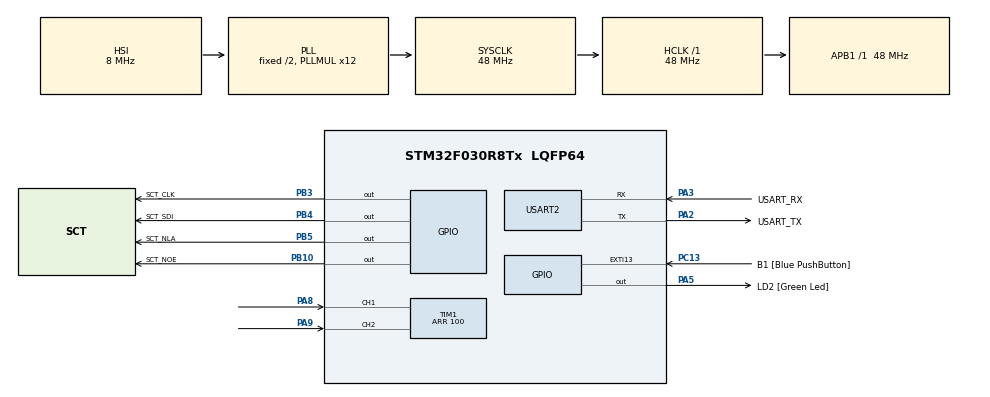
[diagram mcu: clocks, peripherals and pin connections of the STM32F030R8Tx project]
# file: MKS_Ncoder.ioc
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Mcu.Family=STM32F0
Mcu.Name=STM32F030R8Tx
Mcu.Package=LQFP64
PA13.GPIO_Label=TMS
PA13.Mode=Serial_Wire
PA13.Signal=SYS_SWDIO
PA14.GPIO_Label=TCK
PA14.Mode=Serial_Wire
PA14.Signal=SYS_SWCLK
PA2.GPIO_Label=USART_TX
PA2.GPIO_Mode=GPIO_MODE_AF_PP
PA2.GPIO_PuPd=GPIO_NOPULL
PA2.GPIO_Speed=GPIO_SPEED_FREQ_LOW
PA2.Mode=Asynchronous
PA2.Signal=USART2_TX
PA3.GPIO_Label=USART_RX
PA3.GPIO_Mode=GPIO_MODE_AF_PP
PA3.GPIO_PuPd=GPIO_NOPULL
PA3.GPIO_Speed=GPIO_SPEED_FREQ_LOW
PA3.Mode=Asynchronous
PA3.Signal=USART2_RX
PA5.GPIO_Label=LD2 [Green Led]
PA5.GPIO_Mode=GPIO_MODE_OUTPUT_PP
PA5.GPIO_PuPd=GPIO_NOPULL
PA5.GPIO_Speed=GPIO_SPEED_FREQ_LOW
PA5.Signal=GPIO_Output
PA8.Signal=S_TIM1_CH1
PA9.Signal=S_TIM1_CH2
PB10.GPIO_Label=SCT_NOE
PB10.Signal=GPIO_Output
PB3.GPIO_Label=SCT_CLK
PB3.Signal=GPIO_Output
PB4.GPIO_Label=SCT_SDI
PB4.Signal=GPIO_Output
PB5.GPIO_Label=SCT_NLA
PB5.Signal=GPIO_Output
PC13.GPIO_Label=B1 [Blue PushButton]
PC13.GPIO_ModeDefaultEXTI=GPIO_MODE_IT_FALLING
PC13.Signal=GPXTI13
PC14-OSC32_IN.Mode=LSE-External-Oscillator
PC14-OSC32_IN.Signal=RCC_OSC32_IN
PC15-OSC32_OUT.Mode=LSE-External-Oscillator
PC15-OSC32_OUT.Signal=RCC_OSC32_OUT
PF0-OSC_IN.Mode=HSE-External-Clock-Source
PF0-OSC_IN.Signal=RCC_OSC_IN
PF1-OSC_OUT.Signal=RCC_OSC_OUT
ProjectManager.HeapSize=0x200
ProjectManager.StackSize=0x400
ProjectManager.TargetToolchain=STM32CubeIDE
RCC.AHBFreq_Value=48000000
RCC.APB1Freq_Value=48000000
RCC.APB1TimFreq_Value=48000000
RCC.HCLKFreq_Value=48000000
RCC.PLLMUL=RCC_PLL_MUL12
RCC.SYSCLKFreq_VALUE=48000000
RCC.SYSCLKSource=RCC_SYSCLKSOURCE_PLLCLK
SH.S_TIM1_CH1.0=TIM1_CH1,Encoder_Interface
SH.S_TIM1_CH2.0=TIM1_CH2,Encoder_Interface
TIM1.IC1Polarity=TIM_ICPOLARITY_FALLING
TIM1.Period=100
USART2.VirtualMode-Asynchronous=VM_ASYNC
board=NUCLEO-F030R8

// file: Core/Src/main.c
/* USER CODE BEGIN Header */
/**
  ******************************************************************************
  * @file           : main.c
  * @brief          : Main program body
  ******************************************************************************
  * @attention
  *
  * Copyright (c) 2022 STMicroelectronics.
  * All rights reserved.
  *
  * This software is licensed under terms that can be found in the LICENSE file
  * in the root directory of this software component.
  * If no LICENSE file comes with this software, it is provided AS-IS.
  *
  ******************************************************************************
  */
/* USER CODE END Header */
#include "main.h"

/* USER CODE BEGIN Includes */
#include "sct.h"
#include <stdio.h>
#include <stdbool.h>
/* USER CODE END Includes */

/* USER CODE BEGIN PD */
#define MIN_SPEED 20
/* USER CODE END PD */

TIM_HandleTypeDef htim1;

UART_HandleTypeDef huart2;

void SystemClock_Config(void);
static void MX_GPIO_Init(void);
static void MX_USART2_UART_Init(void);
static void MX_TIM1_Init(void);

int main(void)
{
  /* USER CODE BEGIN 1 */
	static uint8_t cnt = 0;
	static uint32_t MyTimer = 0;
	uint8_t Nvalue;
	static bool direction = true;
  /* USER CODE END 1 */

  /* MCU Configuration--------------------------------------------------------*/

  /* Reset of all peripherals, Initializes the Flash interface and the Systick. */
  HAL_Init();

  /* Configure the system clock */
  SystemClock_Config();

  /* Initialize all configured peripherals */
  MX_GPIO_Init();
  MX_USART2_UART_Init();
  MX_TIM1_Init();
  /* USER CODE BEGIN 2 */
  sct_init();
  HAL_TIM_Encoder_Start(&htim1, htim1.Channel);
  /* USER CODE END 2 */

  /* Infinite loop */
  while (1)
  {

    /* USER CODE BEGIN 3 */
	  Nvalue = __HAL_TIM_GET_COUNTER(&htim1);
	  sct_value(Nvalue, cnt);
	  if(!cnt) direction = true;
	  if(cnt == 9) direction = false;
	  if(HAL_GetTick() > MyTimer + Nvalue + MIN_SPEED){
		  direction ? cnt++ : cnt--;
		  MyTimer = HAL_GetTick();
	  }
	  for(uint32_t i = 0; i < 5000; i++);
  }
  /* USER CODE END 3 */
}

void SystemClock_Config(void)
{
  RCC_OscInitTypeDef RCC_OscInitStruct = {0};
  RCC_ClkInitTypeDef RCC_ClkInitStruct = {0};

  /** Initializes the RCC Oscillators according to the specified parameters
  * in the RCC_OscInitTypeDef structure.
  */
  RCC_OscInitStruct.OscillatorType = RCC_OSCILLATORTYPE_HSI;
  RCC_OscInitStruct.HSIState = RCC_HSI_ON;
  RCC_OscInitStruct.HSICalibrationValue = RCC_HSICALIBRATION_DEFAULT;
  RCC_OscInitStruct.PLL.PLLState = RCC_PLL_ON;
  RCC_OscInitStruct.PLL.PLLSource = RCC_PLLSOURCE_HSI;
  RCC_OscInitStruct.PLL.PLLMUL = RCC_PLL_MUL12;
  RCC_OscInitStruct.PLL.PREDIV = RCC_PREDIV_DIV1;
  if (HAL_RCC_OscConfig(&RCC_OscInitStruct) != HAL_OK)
  {
    Error_Handler();
  }
  /** Initializes the CPU, AHB and APB buses clocks
  */
  RCC_ClkInitStruct.ClockType = RCC_CLOCKTYPE_HCLK|RCC_CLOCKTYPE_SYSCLK
                              |RCC_CLOCKTYPE_PCLK1;
  RCC_ClkInitStruct.SYSCLKSource = RCC_SYSCLKSOURCE_PLLCLK;
  RCC_ClkInitStruct.AHBCLKDivider = RCC_SYSCLK_DIV1;
  RCC_ClkInitStruct.APB1CLKDivider = RCC_HCLK_DIV1;

  if (HAL_RCC_ClockConfig(&RCC_ClkInitStruct, FLASH_LATENCY_1) != HAL_OK)
  {
    Error_Handler();
  }
}

static void MX_TIM1_Init(void)
{

  TIM_Encoder_InitTypeDef sConfig = {0};
  TIM_MasterConfigTypeDef sMasterConfig = {0};

  htim1.Instance = TIM1;
  htim1.Init.Prescaler = 0;
  htim1.Init.CounterMode = TIM_COUNTERMODE_UP;
  htim1.Init.Period = 100;
  htim1.Init.ClockDivision = TIM_CLOCKDIVISION_DIV1;
  htim1.Init.RepetitionCounter = 0;
  htim1.Init.AutoReloadPreload = TIM_AUTORELOAD_PRELOAD_DISABLE;
  sConfig.EncoderMode = TIM_ENCODERMODE_TI1;
  sConfig.IC1Polarity = TIM_ICPOLARITY_FALLING;
  sConfig.IC1Selection = TIM_ICSELECTION_DIRECTTI;
  sConfig.IC1Prescaler = TIM_ICPSC_DIV1;
  sConfig.IC1Filter = 0;
  sConfig.IC2Polarity = TIM_ICPOLARITY_RISING;
  sConfig.IC2Selection = TIM_ICSELECTION_DIRECTTI;
  sConfig.IC2Prescaler = TIM_ICPSC_DIV1;
  sConfig.IC2Filter = 0;
  if (HAL_TIM_Encoder_Init(&htim1, &sConfig) != HAL_OK)
  {
    Error_Handler();
  }
  sMasterConfig.MasterOutputTrigger = TIM_TRGO_RESET;
  sMasterConfig.MasterSlaveMode = TIM_MASTERSLAVEMODE_DISABLE;
  if (HAL_TIMEx_MasterConfigSynchronization(&htim1, &sMasterConfig) != HAL_OK)
  {
    Error_Handler();
  }

}

static void MX_USART2_UART_Init(void)
{

  huart2.Instance = USART2;
  huart2.Init.BaudRate = 38400;
  huart2.Init.WordLength = UART_WORDLENGTH_8B;
  huart2.Init.StopBits = UART_STOPBITS_1;
  huart2.Init.Parity = UART_PARITY_NONE;
  huart2.Init.Mode = UART_MODE_TX_RX;
  huart2.Init.HwFlowCtl = UART_HWCONTROL_NONE;
  huart2.Init.OverSampling = UART_OVERSAMPLING_16;
  huart2.Init.OneBitSampling = UART_ONE_BIT_SAMPLE_DISABLE;
  huart2.AdvancedInit.AdvFeatureInit = UART_ADVFEATURE_NO_INIT;
  if (HAL_UART_Init(&huart2) != HAL_OK)
  {
    Error_Handler();
  }

}

static void MX_GPIO_Init(void)
{
  GPIO_InitTypeDef GPIO_InitStruct = {0};

  /* GPIO Ports Clock Enable */
  __HAL_RCC_GPIOC_CLK_ENABLE();
  __HAL_RCC_GPIOF_CLK_ENABLE();
  __HAL_RCC_GPIOA_CLK_ENABLE();
  __HAL_RCC_GPIOB_CLK_ENABLE();

  /*Configure GPIO pin Output Level */
  HAL_GPIO_WritePin(GPIOA, GPIO_PIN_5, GPIO_PIN_RESET);

  /*Configure GPIO pin Output Level */
  HAL_GPIO_WritePin(GPIOB, GPIO_PIN_10|GPIO_PIN_3|GPIO_PIN_4|GPIO_PIN_5, GPIO_PIN_RESET);

  /*Configure GPIO pin : PC13 */
  GPIO_InitStruct.Pin = GPIO_PIN_13;
  GPIO_InitStruct.Mode = GPIO_MODE_IT_FALLING;
  GPIO_InitStruct.Pull = GPIO_NOPULL;
  HAL_GPIO_Init(GPIOC, &GPIO_InitStruct);

  /*Configure GPIO pin : PA5 */
  GPIO_InitStruct.Pin = GPIO_PIN_5;
  GPIO_InitStruct.Mode = GPIO_MODE_OUTPUT_PP;
  GPIO_InitStruct.Pull = GPIO_NOPULL;
  GPIO_InitStruct.Speed = GPIO_SPEED_FREQ_LOW;
  HAL_GPIO_Init(GPIOA, &GPIO_InitStruct);

  /*Configure GPIO pins : PB10 PB3 PB4 PB5 */
  GPIO_InitStruct.Pin = GPIO_PIN_10|GPIO_PIN_3|GPIO_PIN_4|GPIO_PIN_5;
  GPIO_InitStruct.Mode = GPIO_MODE_OUTPUT_PP;
  GPIO_InitStruct.Pull = GPIO_NOPULL;
  GPIO_InitStruct.Speed = GPIO_SPEED_FREQ_LOW;
  HAL_GPIO_Init(GPIOB, &GPIO_InitStruct);

}

void Error_Handler(void)
{
  __disable_irq();
  while (1)
  {
  }
}
